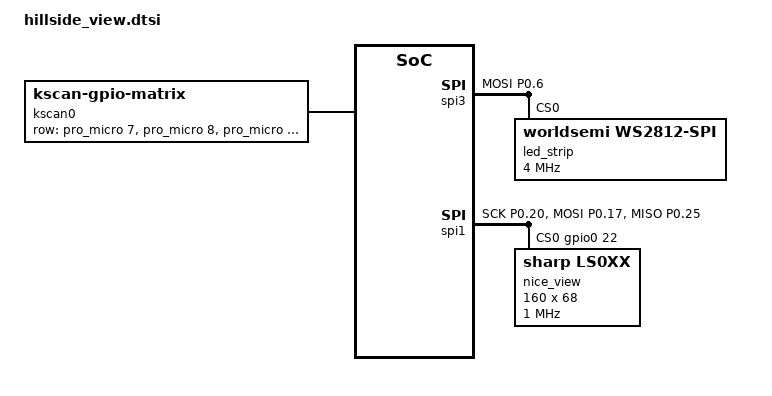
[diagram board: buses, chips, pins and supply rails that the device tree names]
/*
 * Copyright (c) 2022 The ZMK Contributors
 *
 * SPDX-License-Identifier: MIT
 */

#include <dt-bindings/led/led.h>
#include "layouts.dtsi"

/ {
  chosen: chosen {
    zmk,kscan = &kscan0;
    zmk,physical-layout = &hsv_6col_layout;
    zmk,underglow = &led_strip;
  };

  kscan0: kscan {
    compatible = "zmk,kscan-gpio-matrix";
    wakeup-source;

    diode-direction = "col2row";
    row-gpios
      = <&pro_micro 7 (GPIO_ACTIVE_HIGH | GPIO_PULL_DOWN)>
      , <&pro_micro 8 (GPIO_ACTIVE_HIGH | GPIO_PULL_DOWN)>
      , <&pro_micro 9 (GPIO_ACTIVE_HIGH | GPIO_PULL_DOWN)>
      , <&pro_micro 19 (GPIO_ACTIVE_HIGH | GPIO_PULL_DOWN)>
      ;

  };

  sensors {
    compatible = "zmk,keymap-sensors";
    sensors = <&left_encoder &right_encoder>;
    left {
      // EVQWK
      triggers-per-rotation = <15>;
    };
    right {
      // EC11
      triggers-per-rotation = <20>;
    };
  };

  left_encoder: encoder_left {
    status = "disabled";
    compatible = "alps,ec11";
    a-gpios = <&pro_micro 20 (GPIO_ACTIVE_HIGH | GPIO_PULL_UP)>;
    b-gpios = <&pro_micro 21 (GPIO_ACTIVE_HIGH | GPIO_PULL_UP)>;
    steps = <30>;
  };

  right_encoder: encoder_right {
    status = "disabled";
    compatible = "alps,ec11";
    a-gpios = <&pro_micro 20 (GPIO_ACTIVE_HIGH | GPIO_PULL_UP)>;
    b-gpios = <&pro_micro 21 (GPIO_ACTIVE_HIGH | GPIO_PULL_UP)>;
    steps = <80>;
  };
};

&pinctrl {
  spi1_default: spi1_default {
    group1 {
      psels = <NRF_PSEL(SPIM_SCK, 0, 20)>,
        <NRF_PSEL(SPIM_MOSI, 0, 17)>,
        <NRF_PSEL(SPIM_MISO, 0, 25)>;
    };
  };
  spi1_sleep: spi1_sleep {
    group1 {
      psels = <NRF_PSEL(SPIM_SCK, 0, 20)>,
        <NRF_PSEL(SPIM_MOSI, 0, 17)>,
        <NRF_PSEL(SPIM_MISO, 0, 25)>;
      low-power-enable;
    };
  };
  spi3_default: spi3_default {
    group1 {
      psels = <NRF_PSEL(SPIM_MOSI, 0, 6)>;
    };
  };

  spi3_sleep: spi3_sleep {
    group1 {
      psels = <NRF_PSEL(SPIM_MOSI, 0, 6)>;
      low-power-enable;
    };
  };

  i2c0_default: i2c0_default {
    group1 {
      psels = <NRF_PSEL(TWIM_SDA, 1, 0)>,
          <NRF_PSEL(TWIM_SCL, 0, 24)>;
    };
  };

  i2c0_sleep: i2c0_sleep {
    group1 {
      psels = <NRF_PSEL(TWIM_SDA, 1, 0)>,
          <NRF_PSEL(TWIM_SCL, 0, 24)>;
      low-power-enable;
    };
  };
};

&spi3 {
  compatible = "nordic,nrf-spim";
  status = "okay";

  pinctrl-0 = <&spi3_default>;
  pinctrl-1 = <&spi3_sleep>;
  pinctrl-names = "default", "sleep";

  led_strip: ws2812@0 {
    compatible = "worldsemi,ws2812-spi";

    /* SPI */
    reg = <0>; /* ignored, but necessary for SPI bindings */
    spi-max-frequency = <4000000>;

    /* WS2812 */
    chain-length = <4>; /* arbitrary; change at will */
    spi-one-frame = <0x70>;
    spi-zero-frame = <0x40>;

    color-mapping = <LED_COLOR_ID_GREEN LED_COLOR_ID_RED LED_COLOR_ID_BLUE>;
  };
};

&i2c0 {
    status = "disabled";
    pinctrl-0 = <&i2c0_default>;
    pinctrl-1 = <&i2c0_sleep>;
    pinctrl-names = "default", "sleep";

    glidepoint0: glidepoint@2a {
        compatible = "cirque,pinnacle";
        reg = <0x2a>;
        status = "disabled";
        data-ready-gpios = <&gpio1 2 GPIO_ACTIVE_HIGH>;
        sensitivity = "2x";
    };
};

/* Split input infrastructure for Cirque trackpad */
/ {
    split_inputs {
        #address-cells = <1>;
        #size-cells = <0>;

        glidepoint_split: glidepoint_split@0 {
            compatible = "zmk,input-split";
            reg = <0>;
        };
    };

    glidepoint_listener: glidepoint_listener {
        compatible = "zmk,input-listener";
        status = "disabled";
        device = <&glidepoint_split>;
    };
};

nice_view_spi: &spi1 {
  compatible = "nordic,nrf-spim";
  pinctrl-0 = <&spi1_default>;
  pinctrl-1 = <&spi1_sleep>;
  pinctrl-names = "default", "sleep";
  cs-gpios = <&gpio0 22 GPIO_ACTIVE_HIGH>;

  nice_view: ls0xx@0 {
    compatible = "sharp,ls0xx";
    spi-max-frequency = <1000000>;
    reg = <0>;
    width = <160>;
    height = <68>;
  };
};
